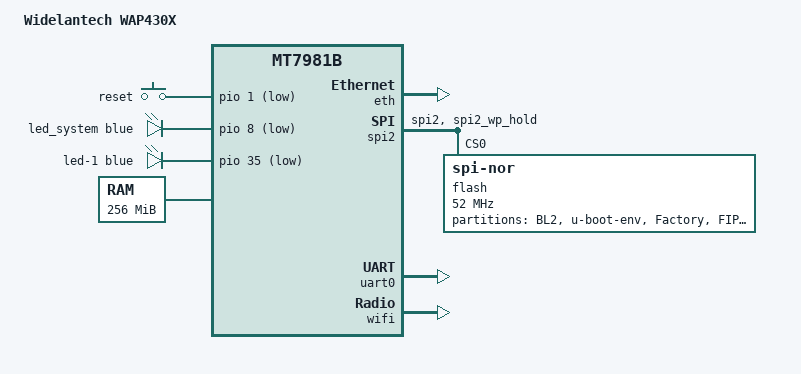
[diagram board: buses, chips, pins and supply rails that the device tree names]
// SPDX-License-Identifier: (GPL-2.0 OR MIT)

/dts-v1/;

#include <dt-bindings/leds/common.h>
#include "mt7981b.dtsi"

/ {
	compatible = "widelantech,wap430x", "mediatek,mt7981b";
	model = "Widelantech WAP430X";

	aliases {
		label-mac-device = &gmac1;
		led-boot = &led_system;
		led-failsafe = &led_system;
		led-running = &led_system;
		led-upgrade = &led_system;
		serial0 = &uart0;
	};

	chosen {
		stdout-path = "serial0:115200n8";
	};

	gpio-keys {
		compatible = "gpio-keys";

		btn-0 {
			label = "reset";
			linux,code = <KEY_RESTART>;
			gpios = <&pio 1 GPIO_ACTIVE_LOW>;
		};
	};

	leds {
		compatible = "gpio-leds";

		led_system: led-0 {
			function = LED_FUNCTION_STATUS;
			color = <LED_COLOR_ID_BLUE>;
			gpios = <&pio 8 GPIO_ACTIVE_LOW>;
		};

		led-1 {
			function = LED_FUNCTION_WLAN;
			color = <LED_COLOR_ID_BLUE>;
			gpios = <&pio 35 GPIO_ACTIVE_LOW>;
			linux,default-trigger = "phy1tpt";
		};
	};

	memory@40000000 {
		device_type = "memory";
		reg = <0 0x40000000 0 0x10000000>;
	};
};

&eth {
	pinctrl-names = "default";
	pinctrl-0 = <&mdio_pins>;

	status = "okay";

	gmac1: mac@1 {
		compatible = "mediatek,eth-mac";
		reg = <1>;
		phy-mode = "gmii";
		phy-handle = <&int_gbe_phy>;

		nvmem-cell-names = "mac-address";
		nvmem-cells = <&macaddr_factory_24>;
	};
};

&pio {
	spi2_flash_pins: spi2-pins {
		mux {
			function = "spi";
			groups = "spi2", "spi2_wp_hold";
		};
	};
};

&spi2 {
	pinctrl-names = "default";
	pinctrl-0 = <&spi2_flash_pins>;
	status = "okay";

	flash@0 {
		compatible = "jedec,spi-nor";
		reg = <0>;

		spi-max-frequency = <52000000>;
		spi-tx-bus-width = <4>;
		spi-rx-bus-width = <4>;

		partitions {
			compatible = "fixed-partitions";
			#address-cells = <1>;
			#size-cells = <1>;

			partition@0 {
				label = "BL2";
				reg = <0x00000 0x40000>;
				read-only;
			};

			partition@40000 {
				label = "u-boot-env";
				reg = <0x40000 0x10000>;
				read-only;
			};

			partition@50000 {
				label = "Factory";
				reg = <0x50000 0xb0000>;
				read-only;

				nvmem-layout {
					compatible = "fixed-layout";
					#address-cells = <1>;
					#size-cells = <1>;

					eeprom_factory: eeprom@0 {
						reg = <0x0 0x1000>;
					};

					// LAN MAC address
					macaddr_factory_24: macaddr@24 {
						reg = <0x24 0x6>;
					};

					// WAN MAC address (not used)
					/* macaddr@2a {
						reg = <0x2a 0x6>;
					}; */
				};
			};

			partition@100000 {
				label = "FIP";
				reg = <0x100000 0x80000>;
				read-only;
			};

			partition@180000 {
				compatible = "denx,fit";
				label = "firmware";
				reg = <0x180000 0xe70000>;
			};

			partition@ff0000 {
				label = "opt";
				reg = <0xff0000 0x10000>;
				read-only;
			};
		};
	};
};

&uart0 {
	status = "okay";
};

&wifi {
	status = "okay";
	nvmem-cells = <&eeprom_factory 0>;
	nvmem-cell-names = "eeprom";
};
